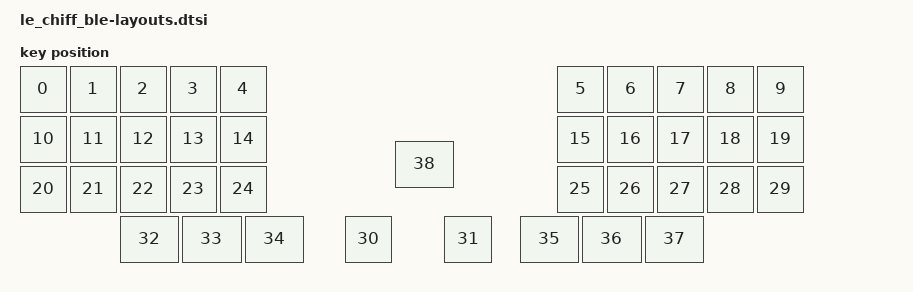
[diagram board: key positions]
#include <physical_layouts.dtsi>

/ {
    le_chiff_ble_layout: le_chiff_ble_layout {
        compatible = "zmk,physical-layout";
        display-name = "Layout";
        transform = <&default_transform>;
        keys
            = <&key_physical_attrs 100 100    0    0       0     0     0>
            , <&key_physical_attrs 100 100  100    0       0     0     0>
            , <&key_physical_attrs 100 100  200    0       0     0     0>
            , <&key_physical_attrs 100 100  300    0       0     0     0>
            , <&key_physical_attrs 100 100  400    0       0     0     0>
            , <&key_physical_attrs 100 100 1075    0       0     0     0>
            , <&key_physical_attrs 100 100 1175    0       0     0     0>
            , <&key_physical_attrs 100 100 1275    0       0     0     0>
            , <&key_physical_attrs 100 100 1375    0       0     0     0>
            , <&key_physical_attrs 100 100 1475    0       0     0     0>
            , <&key_physical_attrs 100 100    0  100       0     0     0>
            , <&key_physical_attrs 100 100  100  100       0     0     0>
            , <&key_physical_attrs 100 100  200  100       0     0     0>
            , <&key_physical_attrs 100 100  300  100       0     0     0>
            , <&key_physical_attrs 100 100  400  100       0     0     0>
            , <&key_physical_attrs 100 100 1075  100       0     0     0>
            , <&key_physical_attrs 100 100 1175  100       0     0     0>
            , <&key_physical_attrs 100 100 1275  100       0     0     0>
            , <&key_physical_attrs 100 100 1375  100       0     0     0>
            , <&key_physical_attrs 100 100 1475  100       0     0     0>
            , <&key_physical_attrs 100 100    0  200       0     0     0>
            , <&key_physical_attrs 100 100  100  200       0     0     0>
            , <&key_physical_attrs 100 100  200  200       0     0     0>
            , <&key_physical_attrs 100 100  300  200       0     0     0>
            , <&key_physical_attrs 100 100  400  200       0     0     0>
            , <&key_physical_attrs 100 100 1075  200       0     0     0>
            , <&key_physical_attrs 100 100 1175  200       0     0     0>
            , <&key_physical_attrs 100 100 1275  200       0     0     0>
            , <&key_physical_attrs 100 100 1375  200       0     0     0>
            , <&key_physical_attrs 100 100 1475  200       0     0     0>
            , <&key_physical_attrs 100 100  650  300       0     0     0>
            , <&key_physical_attrs 100 100  850  300       0     0     0>
            , <&key_physical_attrs 125 100  200  300       0     0     0>
            , <&key_physical_attrs 125 100  325  300       0     0     0>
            , <&key_physical_attrs 125 100  450  300       0     0     0>
            , <&key_physical_attrs 125 100 1000  300       0     0     0>
            , <&key_physical_attrs 125 100 1125  300       0     0     0>
            , <&key_physical_attrs 125 100 1250  300       0     0     0>
            , <&key_physical_attrs 125 100  750  150       0     0     0>
            ;
    };
};
